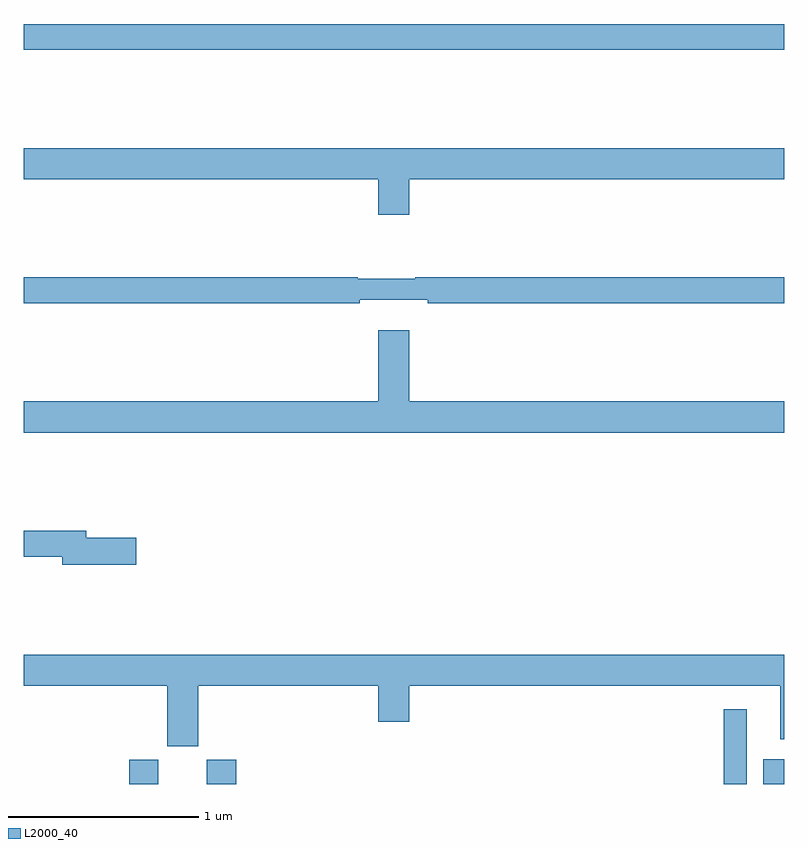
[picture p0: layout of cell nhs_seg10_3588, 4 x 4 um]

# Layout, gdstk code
import gdstk
lib = gdstk.Library(unit=1e-6, precision=1e-09)
def R(c, l, rs):  # rectangles x0, y0, x1, y1
    for r in rs: c.add(gdstk.rectangle(r[:2], r[2:], *l))
def P(c, l, *ps):  # polygons
    for p in ps: c.add(gdstk.Polygon(p, *l))
L2000_40 = (2000, 40)

nhs_seg10_3588 = lib.new_cell('nhs_seg10_3588')
R(nhs_seg10_3588, L2000_40, [(307.556,1266.5,307.708,1266.627), (307.964,1266.5,308.117,1266.627), (310.68,1266.5,310.801,1266.892), (310.889,1266.5,311,1266.631), (307,1270.36,311,1270.496)])
P(nhs_seg10_3588, L2000_40, [(309.028,1269.68),(311,1269.68),(311,1269.844),(307,1269.844),(307,1269.68),(308.864,1269.68),(308.864,1269.492),(309.028,1269.492)],
  [(308.768,1269.047),(309.124,1269.047),(309.124,1269.028),(311,1269.028),(311,1269.164),(309.058,1269.164),(309.058,1269.157),(308.758,1269.157),(308.758,1269.164),(307,1269.164),(307,1269.028),(308.768,1269.028)],
  [(311,1268.512),(309.028,1268.512),(309.028,1268.887),(308.864,1268.887),(308.864,1268.512),(307,1268.512),(307,1268.348),(311,1268.348)],
  [(307.591,1267.796),(307.33,1267.796),(307.33,1267.832),(307,1267.832),(307,1267.696),(307.202,1267.696),(307.202,1267.654),(307.591,1267.654)],
  [(307.918,1267.016),(308.864,1267.016),(308.864,1266.828),(309.028,1266.828),(309.028,1267.016),(310.979,1267.016),(310.979,1266.735),(311,1266.735),(311,1267.18),(307,1267.18),(307,1267.016),(307.754,1267.016),(307.754,1266.699),(307.918,1266.699)])

lib.write_gds('nhs_seg10_3588.gds')
